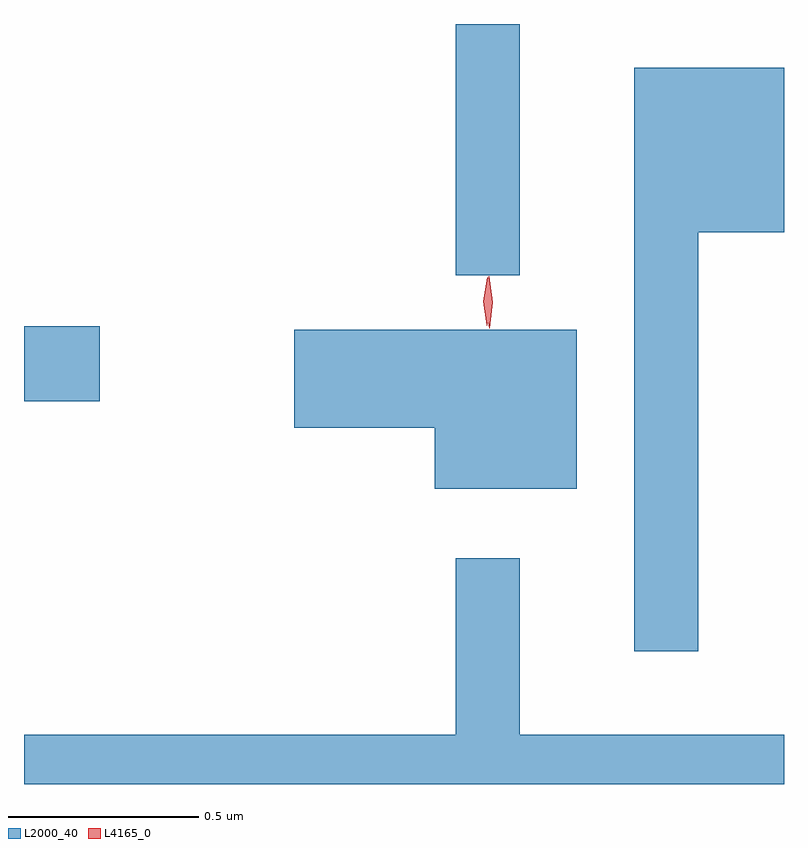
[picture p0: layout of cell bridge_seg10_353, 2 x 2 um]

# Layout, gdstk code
import gdstk
lib = gdstk.Library(unit=1e-6, precision=1e-09)
def R(c, l, rs):  # rectangles x0, y0, x1, y1
    for r in rs: c.add(gdstk.rectangle(r[:2], r[2:], *l))
def P(c, l, *ps):  # polygons
    for p in ps: c.add(gdstk.Polygon(p, *l))
L2000_40 = (2000, 40)
L4165_0 = (4165, 0)

bridge_seg10_353 = lib.new_cell('bridge_seg10_353')
R(bridge_seg10_353, L2000_40, [(1315.705,2157.241,1315.904,2157.439), (1316.841,2157.573,1317.009,2158.234)])
P(bridge_seg10_353, L2000_40, [(1317.479,2157.686),(1317.705,2157.686),(1317.705,2158.119),(1317.311,2158.119),(1317.311,2156.583),(1317.479,2156.583)],
  [(1317.159,2157.429),(1316.416,2157.429),(1316.416,2157.171),(1316.786,2157.171),(1316.786,2157.011),(1317.159,2157.011)],
  [(1317.705,2156.364),(1317.009,2156.364),(1317.009,2156.828),(1316.841,2156.828),(1316.841,2156.364),(1315.705,2156.364),(1315.705,2156.234),(1317.705,2156.234)])
P(bridge_seg10_353, L4165_0, [(1316.929,2157.434),(1316.929,2157.434),(1316.919,2157.502),(1316.928,2157.57),(1316.928,2157.57),(1316.929,2157.57),(1316.939,2157.502),(1316.93,2157.434)],
  [(1316.923,2157.44),(1316.923,2157.441),(1316.914,2157.504),(1316.924,2157.566),(1316.925,2157.567),(1316.926,2157.566),(1316.934,2157.504),(1316.924,2157.441)])

lib.write_gds('bridge_seg10_353.gds')
